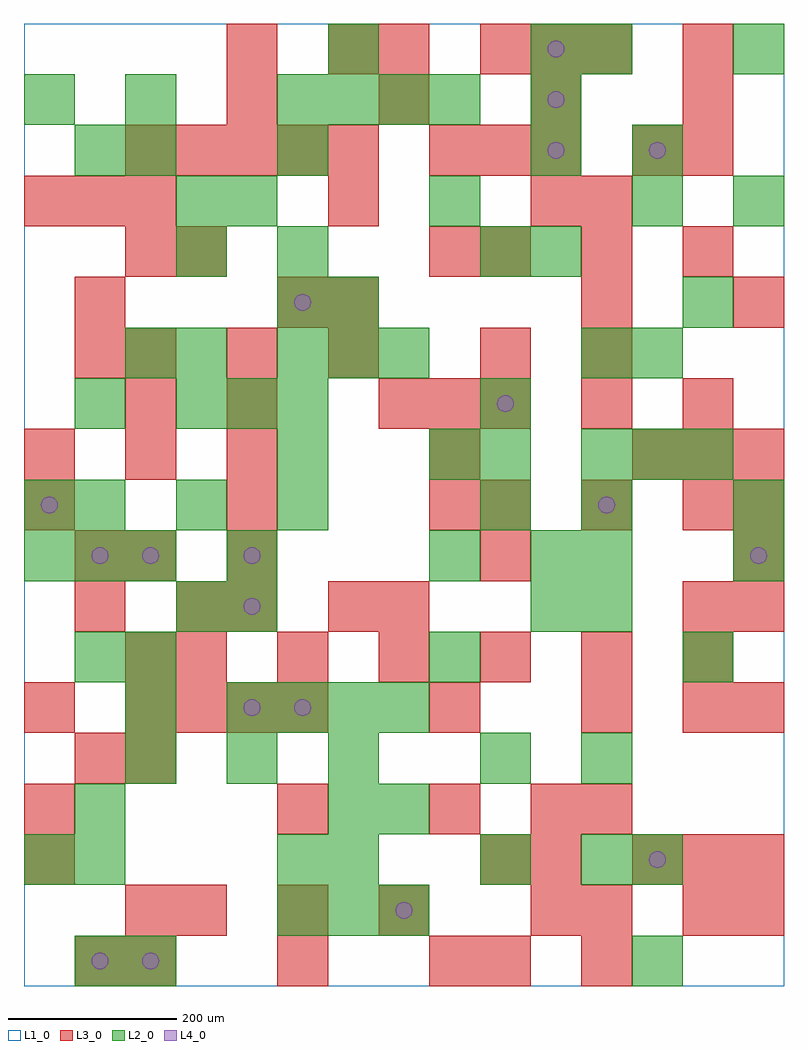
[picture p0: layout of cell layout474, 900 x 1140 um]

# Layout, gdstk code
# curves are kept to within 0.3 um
import gdstk
lib = gdstk.Library(unit=1e-6, precision=1e-09)
def R(c, l, rs):  # rectangles x0, y0, x1, y1
    for r in rs: c.add(gdstk.rectangle(r[:2], r[2:], *l))
def A(c, l, x, y, w, h, nx, ny, dx, dy):  # array of equal rectangles
    R(c, l, [(x+i*dx, y+j*dy, x+i*dx+w, y+j*dy+h) for i in range(nx) for j in range(ny)])
def P(c, l, *ps):  # polygons
    for p in ps: c.add(gdstk.Polygon(p, *l))
L1_0 = (1, 0)
L2_0 = (2, 0)
L3_0 = (3, 0)
L4_0 = (4, 0)

layout474 = lib.new_cell('layout474')
R(layout474, L1_0, [(0,0,900,1140)])
A(layout474, L2_0, 300, 60, 60, 60, 3, 2, 60, 660)
A(layout474, L2_0, 120, 240, 60, 60, 3, 1, 120, 0)
A(layout474, L2_0, 240, 300, 60, 60, 4, 1, 60, 0)
A(layout474, L2_0, 60, 360, 60, 60, 1, 3, 0, 300)
A(layout474, L2_0, 480, 360, 60, 60, 1, 3, 0, 120)
A(layout474, L2_0, 660, 420, 60, 60, 1, 3, 0, 60)
A(layout474, L2_0, 0, 480, 60, 60, 3, 1, 60, 0)
A(layout474, L2_0, 60, 540, 60, 60, 3, 1, 120, 0)
A(layout474, L2_0, 540, 540, 60, 60, 1, 3, 0, 60)
A(layout474, L2_0, 660, 600, 60, 60, 3, 1, 60, 0)
A(layout474, L2_0, 180, 660, 60, 60, 3, 1, 60, 0)
A(layout474, L2_0, 240, 900, 60, 60, 3, 1, 240, 0)
A(layout474, L2_0, 600, 960, 60, 60, 1, 3, 0, 60)
A(layout474, L2_0, 300, 1020, 60, 60, 4, 1, 60, 0)
R(layout474, L2_0, [(60,0,120,60), (120,0,180,60), (720,0,780,60), (0,120,60,180), (60,120,120,180), (300,120,360,180), (360,120,420,180), (540,120,600,180), (660,120,720,180), (720,120,780,180), (60,180,120,240), (360,180,420,240), (420,180,480,240), (540,240,600,300), (660,240,720,300), (120,300,180,360), (120,360,180,420), (780,360,840,420), (180,420,240,480), (240,420,300,480), (600,420,660,480), (240,480,300,540), (600,480,660,540), (840,480,900,540), (0,540,60,600), (840,540,900,600), (300,600,360,660), (120,720,180,780), (180,720,240,780), (660,720,720,780), (720,720,780,780), (300,780,360,840), (360,780,420,840), (780,780,840,840), (180,840,240,900), (300,840,360,900), (540,840,600,900), (600,840,660,900), (180,900,240,960), (840,900,900,960), (120,960,180,1020), (300,960,360,1020), (720,960,780,1020), (0,1020,60,1080), (120,1020,180,1080), (360,1080,420,1140), (660,1080,720,1140), (840,1080,900,1140)])
A(layout474, L3_0, 120, 0, 60, 60, 3, 1, 180, 0)
A(layout474, L3_0, 180, 60, 60, 60, 3, 1, 120, 0)
A(layout474, L3_0, 600, 60, 60, 60, 1, 3, 0, 60)
A(layout474, L3_0, 660, 60, 60, 60, 1, 3, 0, 120)
A(layout474, L3_0, 720, 120, 60, 60, 3, 2, 60, 480)
A(layout474, L3_0, 120, 240, 60, 60, 1, 3, 0, 120)
A(layout474, L3_0, 120, 300, 60, 60, 4, 1, 60, 0)
A(layout474, L3_0, 840, 300, 60, 60, 1, 3, 0, 120)
A(layout474, L3_0, 180, 360, 60, 60, 6, 1, 120, 0)
A(layout474, L3_0, 240, 480, 60, 60, 3, 1, 300, 0)
A(layout474, L3_0, 0, 540, 60, 60, 3, 1, 240, 0)
A(layout474, L3_0, 540, 540, 60, 60, 3, 2, 120, 300)
A(layout474, L3_0, 0, 600, 60, 60, 3, 1, 120, 0)
A(layout474, L3_0, 420, 660, 60, 60, 3, 1, 60, 0)
A(layout474, L3_0, 660, 660, 60, 60, 1, 3, 0, 60)
A(layout474, L3_0, 120, 720, 60, 60, 3, 1, 120, 0)
A(layout474, L3_0, 0, 900, 60, 60, 3, 1, 60, 0)
A(layout474, L3_0, 120, 960, 60, 60, 5, 1, 60, 0)
A(layout474, L3_0, 480, 960, 60, 60, 3, 1, 60, 0)
A(layout474, L3_0, 240, 1020, 60, 60, 4, 1, 180, 0)
A(layout474, L3_0, 540, 1080, 60, 60, 3, 1, 60, 0)
R(layout474, L3_0, [(60,0,120,60), (540,0,600,60), (660,0,720,60), (120,60,180,120), (780,60,840,120), (840,60,900,120), (0,120,60,180), (540,120,600,180), (0,180,60,240), (300,180,360,240), (480,180,540,240), (60,240,120,300), (0,300,60,360), (480,300,540,360), (780,300,840,360), (60,420,120,480), (180,420,240,480), (240,420,300,480), (360,420,420,480), (420,420,480,480), (780,420,840,480), (60,480,120,540), (480,600,540,660), (120,660,180,720), (240,660,300,720), (780,660,840,720), (60,720,120,780), (540,720,600,780), (60,780,120,840), (300,780,360,840), (360,780,420,840), (840,780,900,840), (120,840,180,900), (180,840,240,900), (480,840,540,900), (360,900,420,960), (600,900,660,960), (660,900,720,960), (720,960,780,1020), (780,960,840,1020), (240,1080,300,1140), (360,1080,420,1140), (420,1080,480,1140), (780,1080,840,1140)])
P(layout474, L4_0, [(40,570),(39.239,573.827),(37.071,577.071),(33.827,579.239),(30,580),(26.173,579.239),(22.929,577.071),(20.761,573.827),(20,570),(20.761,566.173),(22.929,562.929),(26.173,560.761),(30,560),(33.827,560.761),(37.071,562.929),(39.239,566.173)],
  [(100,30),(99.239,33.827),(97.071,37.071),(93.827,39.239),(90,40),(86.173,39.239),(82.929,37.071),(80.761,33.827),(80,30),(80.761,26.173),(82.929,22.929),(86.173,20.761),(90,20),(93.827,20.761),(97.071,22.929),(99.239,26.173)],
  [(100,510),(99.239,513.827),(97.071,517.071),(93.827,519.239),(90,520),(86.173,519.239),(82.929,517.071),(80.761,513.827),(80,510),(80.761,506.173),(82.929,502.929),(86.173,500.761),(90,500),(93.827,500.761),(97.071,502.929),(99.239,506.173)],
  [(160,30),(159.239,33.827),(157.071,37.071),(153.827,39.239),(150,40),(146.173,39.239),(142.929,37.071),(140.761,33.827),(140,30),(140.761,26.173),(142.929,22.929),(146.173,20.761),(150,20),(153.827,20.761),(157.071,22.929),(159.239,26.173)],
  [(160,510),(159.239,513.827),(157.071,517.071),(153.827,519.239),(150,520),(146.173,519.239),(142.929,517.071),(140.761,513.827),(140,510),(140.761,506.173),(142.929,502.929),(146.173,500.761),(150,500),(153.827,500.761),(157.071,502.929),(159.239,506.173)],
  [(280,330),(279.239,333.827),(277.071,337.071),(273.827,339.239),(270,340),(266.173,339.239),(262.929,337.071),(260.761,333.827),(260,330),(260.761,326.173),(262.929,322.929),(266.173,320.761),(270,320),(273.827,320.761),(277.071,322.929),(279.239,326.173)],
  [(280,450),(279.239,453.827),(277.071,457.071),(273.827,459.239),(270,460),(266.173,459.239),(262.929,457.071),(260.761,453.827),(260,450),(260.761,446.173),(262.929,442.929),(266.173,440.761),(270,440),(273.827,440.761),(277.071,442.929),(279.239,446.173)],
  [(280,510),(279.239,513.827),(277.071,517.071),(273.827,519.239),(270,520),(266.173,519.239),(262.929,517.071),(260.761,513.827),(260,510),(260.761,506.173),(262.929,502.929),(266.173,500.761),(270,500),(273.827,500.761),(277.071,502.929),(279.239,506.173)],
  [(340,330),(339.239,333.827),(337.071,337.071),(333.827,339.239),(330,340),(326.173,339.239),(322.929,337.071),(320.761,333.827),(320,330),(320.761,326.173),(322.929,322.929),(326.173,320.761),(330,320),(333.827,320.761),(337.071,322.929),(339.239,326.173)],
  [(340,810),(339.239,813.827),(337.071,817.071),(333.827,819.239),(330,820),(326.173,819.239),(322.929,817.071),(320.761,813.827),(320,810),(320.761,806.173),(322.929,802.929),(326.173,800.761),(330,800),(333.827,800.761),(337.071,802.929),(339.239,806.173)],
  [(460,90),(459.239,93.827),(457.071,97.071),(453.827,99.239),(450,100),(446.173,99.239),(442.929,97.071),(440.761,93.827),(440,90),(440.761,86.173),(442.929,82.929),(446.173,80.761),(450,80),(453.827,80.761),(457.071,82.929),(459.239,86.173)],
  [(580,690),(579.239,693.827),(577.071,697.071),(573.827,699.239),(570,700),(566.173,699.239),(562.929,697.071),(560.761,693.827),(560,690),(560.761,686.173),(562.929,682.929),(566.173,680.761),(570,680),(573.827,680.761),(577.071,682.929),(579.239,686.173)],
  [(640,990),(639.239,993.827),(637.071,997.071),(633.827,999.239),(630,1000),(626.173,999.239),(622.929,997.071),(620.761,993.827),(620,990),(620.761,986.173),(622.929,982.929),(626.173,980.761),(630,980),(633.827,980.761),(637.071,982.929),(639.239,986.173)],
  [(640,1050),(639.239,1053.827),(637.071,1057.071),(633.827,1059.239),(630,1060),(626.173,1059.239),(622.929,1057.071),(620.761,1053.827),(620,1050),(620.761,1046.173),(622.929,1042.929),(626.173,1040.761),(630,1040),(633.827,1040.761),(637.071,1042.929),(639.239,1046.173)],
  [(640,1110),(639.239,1113.827),(637.071,1117.071),(633.827,1119.239),(630,1120),(626.173,1119.239),(622.929,1117.071),(620.761,1113.827),(620,1110),(620.761,1106.173),(622.929,1102.929),(626.173,1100.761),(630,1100),(633.827,1100.761),(637.071,1102.929),(639.239,1106.173)],
  [(700,570),(699.239,573.827),(697.071,577.071),(693.827,579.239),(690,580),(686.173,579.239),(682.929,577.071),(680.761,573.827),(680,570),(680.761,566.173),(682.929,562.929),(686.173,560.761),(690,560),(693.827,560.761),(697.071,562.929),(699.239,566.173)],
  [(760,150),(759.239,153.827),(757.071,157.071),(753.827,159.239),(750,160),(746.173,159.239),(742.929,157.071),(740.761,153.827),(740,150),(740.761,146.173),(742.929,142.929),(746.173,140.761),(750,140),(753.827,140.761),(757.071,142.929),(759.239,146.173)],
  [(760,990),(759.239,993.827),(757.071,997.071),(753.827,999.239),(750,1000),(746.173,999.239),(742.929,997.071),(740.761,993.827),(740,990),(740.761,986.173),(742.929,982.929),(746.173,980.761),(750,980),(753.827,980.761),(757.071,982.929),(759.239,986.173)],
  [(880,510),(879.239,513.827),(877.071,517.071),(873.827,519.239),(870,520),(866.173,519.239),(862.929,517.071),(860.761,513.827),(860,510),(860.761,506.173),(862.929,502.929),(866.173,500.761),(870,500),(873.827,500.761),(877.071,502.929),(879.239,506.173)])

lib.write_gds('layout474.gds')
